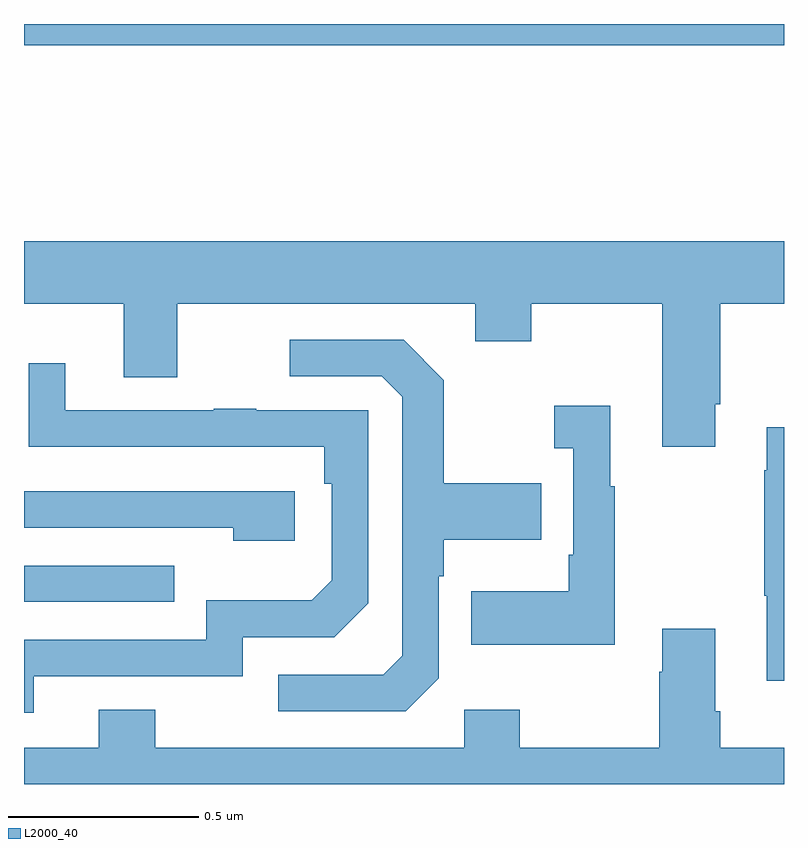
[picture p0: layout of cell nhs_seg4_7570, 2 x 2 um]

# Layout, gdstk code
import gdstk
lib = gdstk.Library(unit=1e-6, precision=1e-09)
def R(c, l, rs):  # rectangles x0, y0, x1, y1
    for r in rs: c.add(gdstk.rectangle(r[:2], r[2:], *l))
def P(c, l, *ps):  # polygons
    for p in ps: c.add(gdstk.Polygon(p, *l))
L2000_40 = (2000, 40)

nhs_seg4_7570 = lib.new_cell('nhs_seg4_7570')
R(nhs_seg4_7570, L2000_40, [(204,785.379,204.395,785.475), (204,786.844,206,786.9)])
P(nhs_seg4_7570, L2000_40, [(205.819,785.899),(205.832,785.899),(205.832,786.164),(206,786.164),(206,786.328),(204,786.328),(204,786.164),(204.263,786.164),(204.263,785.97),(204.403,785.97),(204.403,786.164),(205.187,786.164),(205.187,786.065),(205.335,786.065),(205.335,786.164),(205.679,786.164),(205.679,785.787),(205.819,785.787)],
  [(205.092,785.178),(205.092,785.447),(205.105,785.447),(205.105,785.543),(205.361,785.543),(205.361,785.691),(205.105,785.691),(205.105,785.963),(204.999,786.069),(204.699,786.069),(204.699,785.973),(204.942,785.973),(204.996,785.919),(204.996,785.238),(204.945,785.187),(204.669,785.187),(204.669,785.091),(205.005,785.091)],
  [(204.025,785.184),(204.576,785.184),(204.576,785.286),(204.816,785.286),(204.906,785.376),(204.906,785.883),(204.611,785.883),(204.611,785.888),(204.499,785.888),(204.499,785.883),(204.109,785.883),(204.109,786.007),(204.013,786.007),(204.013,785.788),(204.115,785.788),(204.115,785.787),(204.79,785.787),(204.79,785.69),(204.81,785.69),(204.81,785.436),(204.757,785.383),(204.48,785.383),(204.48,785.28),(204,785.28),(204,785.088),(204.025,785.088)],
  [(205.555,785.683),(205.543,785.683),(205.543,785.896),(205.395,785.896),(205.395,785.783),(205.446,785.783),(205.446,785.503),(205.434,785.503),(205.434,785.407),(205.177,785.407),(205.177,785.267),(205.555,785.267)],
  [(206,785.839),(205.955,785.839),(205.955,785.726),(205.948,785.726),(205.948,785.395),(205.955,785.395),(205.955,785.172),(206,785.172)],
  [(204.712,785.67),(204,785.67),(204,785.574),(204.551,785.574),(204.551,785.54),(204.712,785.54)],
  [(206,784.996),(205.832,784.996),(205.832,785.092),(205.819,785.092),(205.819,785.308),(205.679,785.308),(205.679,785.195),(205.672,785.195),(205.672,784.996),(205.305,784.996),(205.305,785.095),(205.158,785.095),(205.158,784.996),(204.345,784.996),(204.345,785.095),(204.197,785.095),(204.197,784.996),(204,784.996),(204,784.9),(206,784.9)])

lib.write_gds('nhs_seg4_7570.gds')
